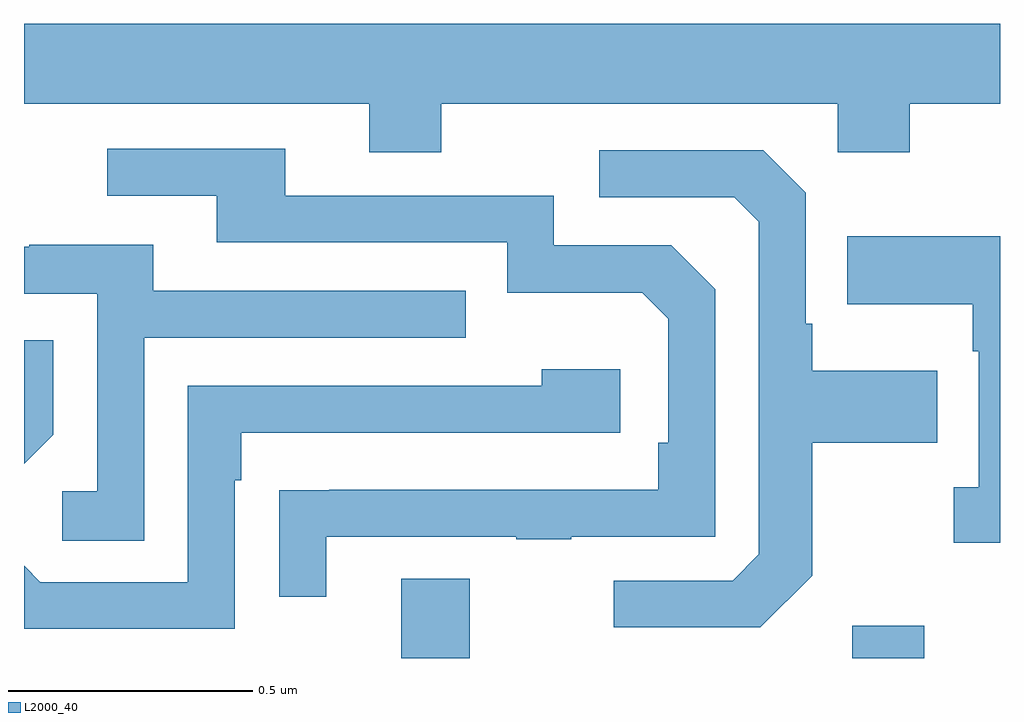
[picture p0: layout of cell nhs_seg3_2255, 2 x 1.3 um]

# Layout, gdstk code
import gdstk
lib = gdstk.Library(unit=1e-6, precision=1e-09)
def R(c, l, rs):  # rectangles x0, y0, x1, y1
    for r in rs: c.add(gdstk.rectangle(r[:2], r[2:], *l))
def P(c, l, *ps):  # polygons
    for p in ps: c.add(gdstk.Polygon(p, *l))
L2000_40 = (2000, 40)

nhs_seg3_2255 = lib.new_cell('nhs_seg3_2255')
R(nhs_seg3_2255, L2000_40, [(138.773,746.4,138.913,746.563), (139.697,746.4,139.845,746.467)])
P(nhs_seg3_2255, L2000_40, [(138.855,747.536),(139.668,747.536),(139.668,747.437),(139.815,747.437),(139.815,747.536),(140,747.536),(140,747.7),(138,747.7),(138,747.536),(138.707,747.536),(138.707,747.437),(138.855,747.437)],
  [(138.619,746.649),(139.009,746.649),(139.009,746.644),(139.121,746.644),(139.121,746.649),(139.416,746.649),(139.416,747.156),(139.326,747.246),(139.086,747.246),(139.086,747.348),(138.535,747.348),(138.535,747.444),(138.171,747.444),(138.171,747.348),(138.395,747.348),(138.395,747.252),(138.99,747.252),(138.99,747.149),(139.267,747.149),(139.32,747.096),(139.32,746.842),(139.3,746.842),(139.3,746.745),(138.625,746.745),(138.625,746.744),(138.523,746.744),(138.523,746.526),(138.619,746.526)],
  [(139.615,746.569),(139.615,746.842),(139.871,746.842),(139.871,746.989),(139.615,746.989),(139.615,747.085),(139.602,747.085),(139.602,747.354),(139.515,747.441),(139.179,747.441),(139.179,747.345),(139.455,747.345),(139.506,747.294),(139.506,746.613),(139.452,746.559),(139.209,746.559),(139.209,746.463),(139.509,746.463)],
  [(140,747.265),(139.687,747.265),(139.687,747.125),(139.944,747.125),(139.944,747.029),(139.956,747.029),(139.956,746.75),(139.905,746.75),(139.905,746.637),(140,746.637)],
  [(138.246,747.057),(138.905,747.057),(138.905,747.153),(138.265,747.153),(138.265,747.247),(138.011,747.247),(138.011,747.243),(138,747.243),(138,747.147),(138.15,747.147),(138.15,746.742),(138.078,746.742),(138.078,746.641),(138.246,746.641)],
  [(138.06,746.858),(138.06,747.052),(138,747.052),(138,746.798)],
  [(138.432,746.765),(138.445,746.765),(138.445,746.862),(139.222,746.862),(139.222,746.992),(139.061,746.992),(139.061,746.958),(138.336,746.958),(138.336,746.556),(138.033,746.556),(138,746.589),(138,746.46),(138.432,746.46)])

lib.write_gds('nhs_seg3_2255.gds')
